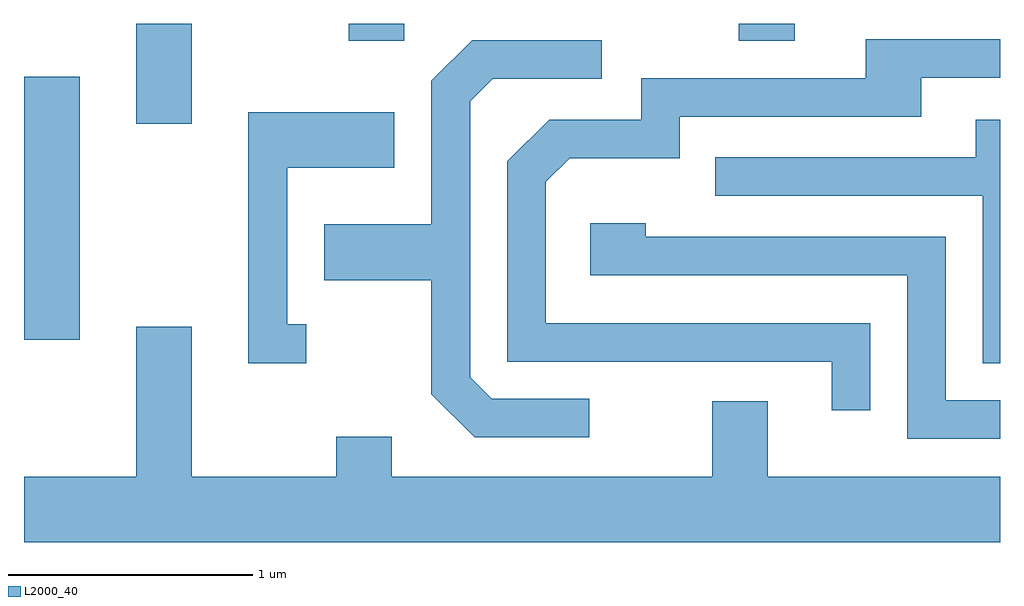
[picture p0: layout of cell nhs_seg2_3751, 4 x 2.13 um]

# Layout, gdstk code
import gdstk
lib = gdstk.Library(unit=1e-6, precision=1e-09)
def R(c, l, rs):  # rectangles x0, y0, x1, y1
    for r in rs: c.add(gdstk.rectangle(r[:2], r[2:], *l))
def P(c, l, *ps):  # polygons
    for p in ps: c.add(gdstk.Polygon(p, *l))
L2000_40 = (2000, 40)

nhs_seg2_3751 = lib.new_cell('nhs_seg2_3751')
R(nhs_seg2_3751, L2000_40, [(295.611,1022.506,295.839,1023.584), (296.071,1023.391,296.299,1023.802), (296.941,1023.731,297.169,1023.802), (298.541,1023.731,298.769,1023.802)])
P(nhs_seg2_3751, L2000_40, [(299.079,1022.574),(297.749,1022.574),(297.749,1023.154),(297.847,1023.251),(298.299,1023.251),(298.299,1023.421),(299.289,1023.421),(299.289,1023.581),(299.611,1023.581),(299.611,1023.739),(299.061,1023.739),(299.061,1023.579),(298.141,1023.579),(298.141,1023.409),(297.764,1023.409),(297.591,1023.237),(297.591,1022.416),(298.921,1022.416),(298.921,1022.218),(299.079,1022.218)],
  [(297.928,1022.264),(297.527,1022.264),(297.439,1022.352),(297.439,1023.484),(297.532,1023.576),(297.978,1023.576),(297.978,1023.734),(297.449,1023.734),(297.281,1023.567),(297.281,1022.979),(296.841,1022.979),(296.841,1022.751),(297.281,1022.751),(297.281,1022.284),(297.459,1022.106),(297.928,1022.106)],
  [(296.768,1022.569),(296.689,1022.569),(296.689,1023.211),(297.129,1023.211),(297.129,1023.439),(296.531,1023.439),(296.531,1022.411),(296.768,1022.411)],
  [(299.611,1023.409),(299.511,1023.409),(299.511,1023.254),(298.443,1023.254),(298.443,1023.096),(299.541,1023.096),(299.541,1022.411),(299.611,1022.411)],
  [(299.611,1022.259),(299.389,1022.259),(299.389,1022.929),(298.159,1022.929),(298.159,1022.984),(297.931,1022.984),(297.931,1022.771),(299.231,1022.771),(299.231,1022.101),(299.611,1022.101)],
  [(299.611,1021.944),(298.659,1021.944),(298.659,1022.254),(298.431,1022.254),(298.431,1021.944),(297.119,1021.944),(297.119,1022.109),(296.891,1022.109),(296.891,1021.944),(296.299,1021.944),(296.299,1022.559),(296.071,1022.559),(296.071,1021.944),(295.611,1021.944),(295.611,1021.676),(299.611,1021.676)])

lib.write_gds('nhs_seg2_3751.gds')
